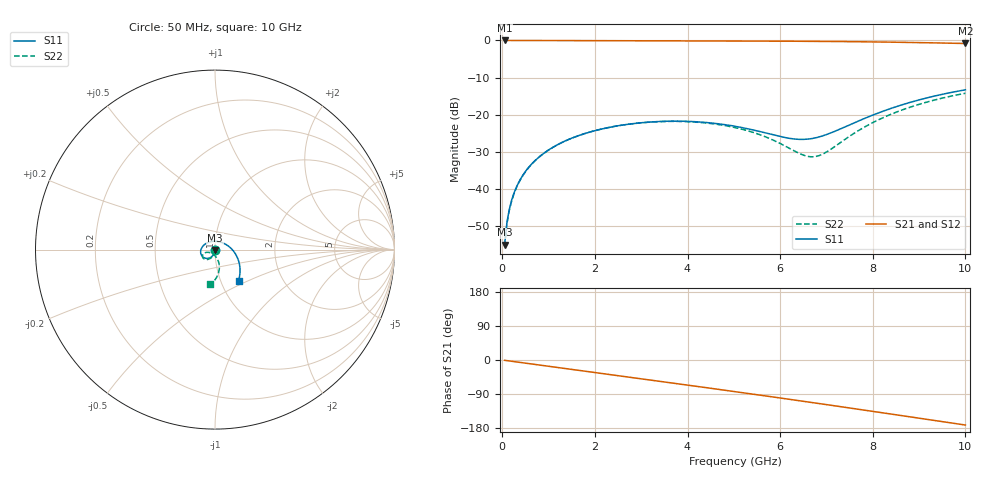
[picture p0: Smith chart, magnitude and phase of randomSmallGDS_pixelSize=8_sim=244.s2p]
! freq	dB(S11)	phase(S11)	dB(S12)	phase(S12)
!  dB(S21)	phase(S21)	dB(S22)	phase(S22)
!S-par simulation data
#  GHz  S  DB  R 50
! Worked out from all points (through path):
!   200 points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, 50 MHz to 10 GHz, reference 50 ohm
!   highest |S21| = 0.00 dB at 50 MHz (marker M1); lowest = -0.8 dB at 10 GHz (marker M2)
!   group delay of S21, straight-line fit = 47.5 ps
!   lowest |S11| = -55.0 dB at 50 MHz (marker M3), VSWR 1.00, Z = 50 - j0.178 ohm
!   |S11| at or under -10 dB: start of sweep to end of sweep
!   |S22| runs from -55.4 to -14.2 dB; largest |S21 - S12| = 0
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0.05  -55.01 -90.5  -0.00 -0.8  -0.00 -0.8  -55.39 -90.1
0.1  -49.03 -92.1  -0.00 -1.7  -0.00 -1.7  -49.36 -91.4
0.15  -45.55 -93.3  -0.00 -2.5  -0.00 -2.5  -45.83 -92.5
0.2  -43.09 -94.3  -0.00 -3.3  -0.00 -3.3  -43.32 -93.4
0.35  -38.31 -97.1  -0.01 -5.8  -0.01 -5.8  -38.44 -96.0
0.5  -35.28 -99.9  -0.01 -8.3  -0.01 -8.3  -35.35 -98.4
0.7  -32.44 -103.5  -0.01 -11.6  -0.01 -11.6  -32.47 -101.5
1  -29.49 -109.0  -0.02 -16.6  -0.02 -16.6  -29.50 -106.1
1.75  -25.19 -123.0  -0.04 -29.0  -0.04 -29.0  -25.19 -117.6
2.5  -22.97 -137.2  -0.07 -41.3  -0.07 -41.3  -22.97 -128.8
3.4  -21.82 -155.3  -0.09 -56.2  -0.09 -56.2  -21.86 -141.6
4.25  -21.94 -174.5  -0.12 -70.4  -0.12 -70.4  -22.06 -152.7
5.05  -23.16 163.0  -0.15 -83.9  -0.15 -83.9  -23.52 -160.7
5.65  -24.79 139.5  -0.17 -94.2  -0.17 -94.2  -25.78 -162.3
6.2  -26.35 107.8  -0.20 -103.7  -0.20 -103.7  -29.05 -152.9
6.5  -26.64 85.5  -0.22 -108.9  -0.22 -108.9  -30.86 -136.7
6.7  -26.38 69.8  -0.24 -112.4  -0.24 -112.4  -31.33 -120.4
6.95  -25.56 51.2  -0.26 -116.8  -0.26 -116.8  -30.40 -99.6
7.75  -21.37 7.6  -0.35 -131.0  -0.35 -131.0  -23.83 -74.3
8.35  -18.48 -13.3  -0.45 -141.8  -0.45 -141.8  -20.10 -75.8
9.2  -15.37 -35.5  -0.62 -157.2  -0.62 -157.2  -16.48 -85.5
10  -13.29 -52.7  -0.82 -171.6  -0.82 -171.6  -14.23 -97.5
